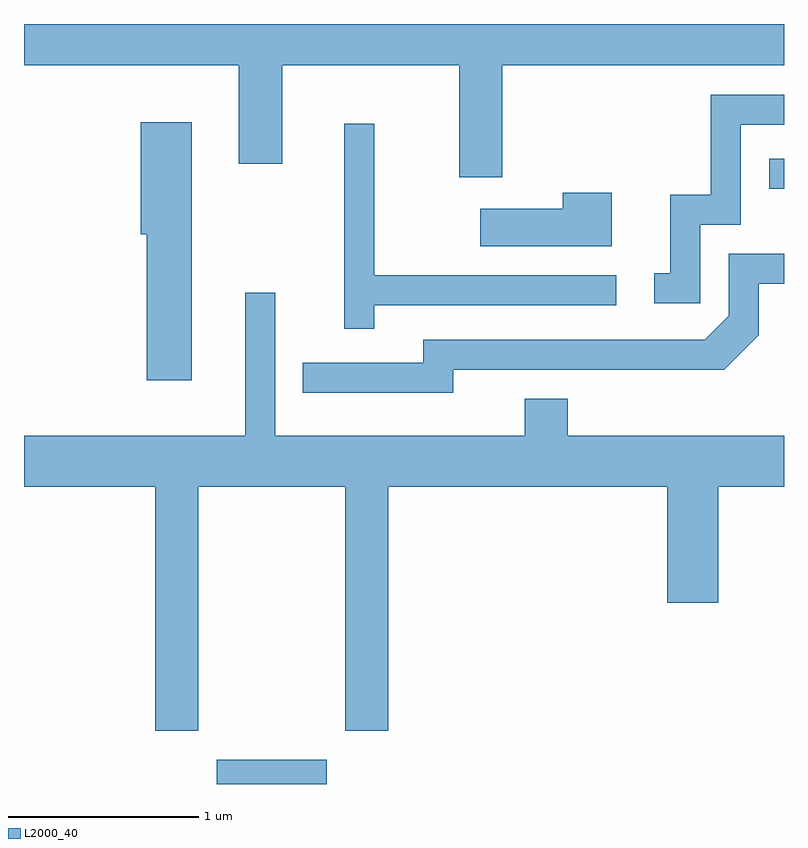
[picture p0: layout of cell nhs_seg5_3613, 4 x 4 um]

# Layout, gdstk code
import gdstk
lib = gdstk.Library(unit=1e-6, precision=1e-09)
def R(c, l, rs):  # rectangles x0, y0, x1, y1
    for r in rs: c.add(gdstk.rectangle(r[:2], r[2:], *l))
def P(c, l, *ps):  # polygons
    for p in ps: c.add(gdstk.Polygon(p, *l))
L2000_40 = (2000, 40)

nhs_seg5_3613 = lib.new_cell('nhs_seg5_3613')
R(nhs_seg5_3613, L2000_40, [(292.626,1504.072,293.204,1504.199), (295.533,1507.206,295.611,1507.364)])
P(nhs_seg5_3613, L2000_40, [(294.129,1507.856),(295.611,1507.856),(295.611,1508.072),(291.611,1508.072),(291.611,1507.856),(292.741,1507.856),(292.741,1507.336),(292.969,1507.336),(292.969,1507.856),(293.901,1507.856),(293.901,1507.266),(294.129,1507.266)],
  [(295.169,1507.016),(295.384,1507.016),(295.384,1507.541),(295.611,1507.541),(295.611,1507.699),(295.226,1507.699),(295.226,1507.174),(295.011,1507.174),(295.011,1506.759),(294.928,1506.759),(294.928,1506.601),(295.169,1506.601)],
  [(292.494,1507.554),(292.226,1507.554),(292.226,1506.966),(292.256,1506.966),(292.256,1506.196),(292.494,1506.196)],
  [(293.454,1506.591),(294.728,1506.591),(294.728,1506.749),(293.454,1506.749),(293.454,1507.548),(293.296,1507.548),(293.296,1506.468),(293.454,1506.468)],
  [(294.704,1507.184),(294.446,1507.184),(294.446,1507.099),(294.011,1507.099),(294.011,1506.901),(294.704,1506.901)],
  [(293.869,1506.251),(295.297,1506.251),(295.479,1506.434),(295.479,1506.706),(295.611,1506.706),(295.611,1506.864),(295.321,1506.864),(295.321,1506.537),(295.194,1506.409),(293.711,1506.409),(293.711,1506.289),(293.078,1506.289),(293.078,1506.131),(293.869,1506.131)],
  [(292.529,1505.636),(293.301,1505.636),(293.301,1504.351),(293.529,1504.351),(293.529,1505.636),(294.996,1505.636),(294.996,1505.026),(295.264,1505.026),(295.264,1505.636),(295.611,1505.636),(295.611,1505.904),(294.474,1505.904),(294.474,1506.099),(294.246,1506.099),(294.246,1505.904),(292.934,1505.904),(292.934,1506.658),(292.776,1506.658),(292.776,1505.904),(291.611,1505.904),(291.611,1505.636),(292.301,1505.636),(292.301,1504.351),(292.529,1504.351)])

lib.write_gds('nhs_seg5_3613.gds')
